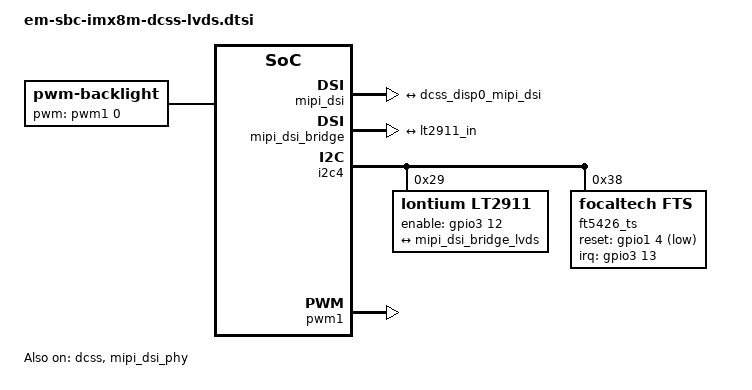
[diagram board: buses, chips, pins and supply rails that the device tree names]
/*
 * Copyright 2019 EMBEST
 *
 * This program is free software; you can redistribute it and/or
 * modify it under the terms of the GNU General Public License
 * as published by the Free Software Foundation; either version 2
 * of the License, or (at your option) any later version.
 *
 * This program is distributed in the hope that it will be useful,
 * but WITHOUT ANY WARRANTY; without even the implied warranty of
 * MERCHANTABILITY or FITNESS FOR A PARTICULAR PURPOSE.  See the
 * GNU General Public License for more details.
 */

/ {
	sound-hdmi {
		status = "disabled";
	};
};

&hdmi {
	status = "disabled";
};

&dcss {
	status = "okay";
	disp-dev = "mipi_disp";

	clocks = <&clk IMX8MQ_CLK_DISP_APB_ROOT>,
		 <&clk IMX8MQ_CLK_DISP_AXI_ROOT>,
		 <&clk IMX8MQ_CLK_DISP_RTRM_ROOT>,
		 <&clk IMX8MQ_CLK_DC_PIXEL>,
		 <&clk IMX8MQ_CLK_DUMMY>,
		 <&clk IMX8MQ_CLK_DISP_DTRC>;
	clock-names = "apb", "axi", "rtrm", "pix_div", "pix_out", "dtrc";

	assigned-clocks = <&clk IMX8MQ_CLK_DC_PIXEL>,
			  <&clk IMX8MQ_CLK_DISP_AXI>,
			  <&clk IMX8MQ_CLK_DISP_RTRM>,
			  <&clk IMX8MQ_VIDEO_PLL1_REF_SEL>,
			  <&clk IMX8MQ_VIDEO_PLL1>;
	assigned-clock-parents = <&clk IMX8MQ_VIDEO_PLL1_OUT>,
				 <&clk IMX8MQ_SYS1_PLL_800M>,
				 <&clk IMX8MQ_SYS1_PLL_800M>,
				 <&clk IMX8MQ_CLK_25M>;
	assigned-clock-rates = <600000000>,
			       <800000000>,
			       <0>,
			       <400000000>,
			       <599999999>;

	dcss_disp0: port@0 {
		reg = <0>;

		dcss_disp0_mipi_dsi: mipi_dsi {
			remote-endpoint = <&mipi_dsi_in>;
		};
	};
};

&mipi_dsi_phy {
	status = "okay";
};

&mipi_dsi {
	status = "okay";

	port@1 {
		mipi_dsi_in: endpoint {
			remote-endpoint = <&dcss_disp0_mipi_dsi>;
		};
	};

};

&mipi_dsi_bridge {
	status = "okay";

    port@1 {
		mipi_dsi_bridge_lvds: endpoint {
			remote-endpoint = <&lt2911_in>;
		};
	};
};

&i2c4 {
    lt2911@29 {
		compatible = "lontium,lt2911";
		reg = <0x29>;
        pinctrl-0 = <&pinctrl_mipi_dsi_en>;
        enable-gpio = <&gpio3 12 GPIO_ACTIVE_HIGH>;

		port {
			lt2911_in: endpoint {
				remote-endpoint = <&mipi_dsi_bridge_lvds>;
			};
		};

		display-timings {
			native-mode = <&timing1>;
			timing1: timing1 {
				clock-frequency = <34000000>;
				hactive = <1024>;
				vactive = <600>;
				hfront-porch = <60>;
				hsync-len = <60>;
				hback-porch = <100>;
				vfront-porch = <2>;
				vsync-len = <5>;
				vback-porch = <10>;
				hsync-active = <0>;
				vsync-active = <0>;
				de-active = <0>;
				pixelclk-active = <0>;
			};
		};
	};

    ft5426_ts@38 {
            compatible = "focaltech,fts";
            reg = <0x38>;
            pinctrl-0 = <&pinctrl_ts_ft5426>;

            interrupt-parent = <&gpio3>;
            interrupts = <13 2>;
            focaltech,reset-gpio = <&gpio1 4 0x01>;
            focaltech,irq-gpio = <&gpio3 13 0x02>;
            focaltech,max-touch-number = <5>;
            focaltech,panel-type = <0x54260002>; /* _FT5426 */
            focaltech,display-coords =  <0 0 1024 600>;
            focaltech,have-key;
            focaltech,key-number = <3>;
            focaltech,keys = <139 102 158>;
            focaltech,key-y-coord = <2000>;
            focaltech,key-x-coords = <200 600 800>;
    };

};

&iomuxc {
	imx8mq-evk {
		pinctrl_mipi_dsi_en: mipi_dsi_en {
			fsl,pins = <
				MX8MQ_IOMUXC_NAND_DATA06_GPIO3_IO12	0x16 /*DSI_EN*/
			>;
		};

		pinctrl_ts_ft5426: ft5426_pinsgrp {
			fsl,pins = <
				MX8MQ_IOMUXC_NAND_DATA07_GPIO3_IO13  0x19 /* DSI_TS_nINT */
				MX8MQ_IOMUXC_GPIO1_IO04_GPIO1_IO4   0x19 /* DSI_TS_RST */
			>;
		};

		pinctrl_pwm1: pwm1_grp {
			fsl,pins = <
					MX8MQ_IOMUXC_GPIO1_IO01_PWM1_OUT  0x06
			>;
		};
	};
};


/ {

	backlight {
			compatible = "pwm-backlight";
			pwms = <&pwm1 0 10000 0>;
			brightness-levels = <0  10  30 100 110 113 115 117 122
                               132 142 152 162 172 182 192 202 254>;
			default-brightness-level = <14>;
			status = "okay";
	};
};

&pwm1 {
        pinctrl-names = "default";
        pinctrl-0 = <&pinctrl_pwm1>;
        status = "okay";
};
